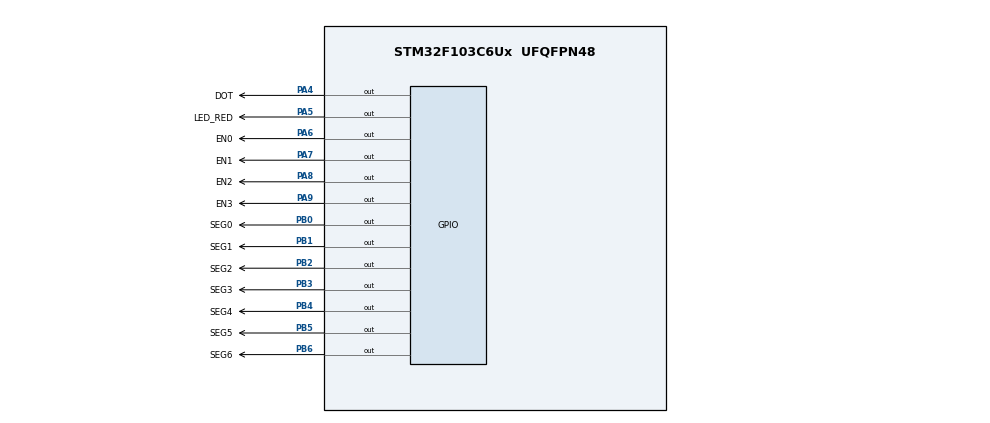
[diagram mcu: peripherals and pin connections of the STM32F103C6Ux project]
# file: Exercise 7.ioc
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Mcu.Family=STM32F1
Mcu.Name=STM32F103C6Ux
Mcu.Package=UFQFPN48
NVIC.PriorityGroup=NVIC_PRIORITYGROUP_4
NVIC.TIM2_IRQn=true\:0\:0\:false\:false\:true\:true\:true
PA4.GPIO_Label=DOT
PA4.Signal=GPIO_Output
PA5.GPIO_Label=LED_RED
PA5.Signal=GPIO_Output
PA6.GPIO_Label=EN0
PA6.Signal=GPIO_Output
PA7.GPIO_Label=EN1
PA7.Signal=GPIO_Output
PA8.GPIO_Label=EN2
PA8.Signal=GPIO_Output
PA9.GPIO_Label=EN3
PA9.Signal=GPIO_Output
PB0.GPIO_Label=SEG0
PB0.Signal=GPIO_Output
PB1.GPIO_Label=SEG1
PB1.Signal=GPIO_Output
PB2.GPIO_Label=SEG2
PB2.Signal=GPIO_Output
PB3.GPIO_Label=SEG3
PB3.Signal=GPIO_Output
PB4.GPIO_Label=SEG4
PB4.Signal=GPIO_Output
PB5.GPIO_Label=SEG5
PB5.Signal=GPIO_Output
PB6.GPIO_Label=SEG6
PB6.Signal=GPIO_Output
ProjectManager.HeapSize=0x200
ProjectManager.StackSize=0x400
ProjectManager.TargetToolchain=STM32CubeIDE
RCC.APB1Freq_Value=8000000
RCC.APB2Freq_Value=8000000
TIM2.Period=9
TIM2.Prescaler=7999
VP_SYS_VS_ND.Mode=No_Debug
VP_TIM2_VS_ClockSourceINT.Mode=Internal
board=custom

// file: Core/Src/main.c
/* USER CODE BEGIN Header */
/**
  ******************************************************************************
  * @file           : main.c
  * @brief          : Main program body
  ******************************************************************************
  * @attention
  *
  * <h2><center>&copy; Copyright (c) 2024 STMicroelectronics.
  * All rights reserved.</center></h2>
  *
  * This software component is licensed by ST under BSD 3-Clause license,
  * the "License"; You may not use this file except in compliance with the
  * License. You may obtain a copy of the License at:
  *                        opensource.org/licenses/BSD-3-Clause
  *
  ******************************************************************************
  */
/* USER CODE END Header */
#include "main.h"
#include "software_timer.h"

TIM_HandleTypeDef htim2;

void SystemClock_Config(void);
static void MX_GPIO_Init(void);
static void MX_TIM2_Init(void);

void display7SEG(int led_buffer)
{
	switch (led_buffer)
	{
		case 0:
			HAL_GPIO_WritePin(SEG0_GPIO_Port, SEG0_Pin, RESET);
			HAL_GPIO_WritePin(SEG1_GPIO_Port, SEG1_Pin, RESET);
			HAL_GPIO_WritePin(SEG2_GPIO_Port, SEG2_Pin, RESET);
			HAL_GPIO_WritePin(SEG3_GPIO_Port, SEG3_Pin, RESET);
			HAL_GPIO_WritePin(SEG4_GPIO_Port, SEG4_Pin, RESET);
			HAL_GPIO_WritePin(SEG5_GPIO_Port, SEG5_Pin, RESET);
			HAL_GPIO_WritePin(SEG6_GPIO_Port, SEG6_Pin, SET);
			break;
		case 1:
			HAL_GPIO_WritePin(SEG0_GPIO_Port, SEG0_Pin, SET);
			HAL_GPIO_WritePin(SEG1_GPIO_Port, SEG1_Pin, RESET);
			HAL_GPIO_WritePin(SEG2_GPIO_Port, SEG2_Pin, RESET);
			HAL_GPIO_WritePin(SEG3_GPIO_Port, SEG3_Pin, SET);
			HAL_GPIO_WritePin(SEG4_GPIO_Port, SEG4_Pin, SET);
			HAL_GPIO_WritePin(SEG5_GPIO_Port, SEG5_Pin, SET);
			HAL_GPIO_WritePin(SEG6_GPIO_Port, SEG6_Pin, SET);
			break;
		case 2:
			HAL_GPIO_WritePin(SEG0_GPIO_Port, SEG0_Pin, RESET);
			HAL_GPIO_WritePin(SEG1_GPIO_Port, SEG1_Pin, RESET);
			HAL_GPIO_WritePin(SEG2_GPIO_Port, SEG2_Pin, SET);
			HAL_GPIO_WritePin(SEG3_GPIO_Port, SEG3_Pin, RESET);
			HAL_GPIO_WritePin(SEG4_GPIO_Port, SEG4_Pin, RESET);
			HAL_GPIO_WritePin(SEG5_GPIO_Port, SEG5_Pin, SET);
			HAL_GPIO_WritePin(SEG6_GPIO_Port, SEG6_Pin, RESET);
			break;
		case 3:
			HAL_GPIO_WritePin(SEG0_GPIO_Port, SEG0_Pin, RESET);
			HAL_GPIO_WritePin(SEG1_GPIO_Port, SEG1_Pin, RESET);
			HAL_GPIO_WritePin(SEG2_GPIO_Port, SEG2_Pin, RESET);
			HAL_GPIO_WritePin(SEG3_GPIO_Port, SEG3_Pin, RESET);
			HAL_GPIO_WritePin(SEG4_GPIO_Port, SEG4_Pin, SET);
			HAL_GPIO_WritePin(SEG5_GPIO_Port, SEG5_Pin, SET);
			HAL_GPIO_WritePin(SEG6_GPIO_Port, SEG6_Pin, RESET);
			break;
		case 4:
			HAL_GPIO_WritePin(SEG0_GPIO_Port, SEG0_Pin, SET);
			HAL_GPIO_WritePin(SEG1_GPIO_Port, SEG1_Pin, RESET);
			HAL_GPIO_WritePin(SEG2_GPIO_Port, SEG2_Pin, RESET);
			HAL_GPIO_WritePin(SEG3_GPIO_Port, SEG3_Pin, SET);
			HAL_GPIO_WritePin(SEG4_GPIO_Port, SEG4_Pin, SET);
			HAL_GPIO_WritePin(SEG5_GPIO_Port, SEG5_Pin, RESET);
			HAL_GPIO_WritePin(SEG6_GPIO_Port, SEG6_Pin, RESET);
			break;
		case 5:
			HAL_GPIO_WritePin(SEG0_GPIO_Port, SEG0_Pin, RESET);
			HAL_GPIO_WritePin(SEG1_GPIO_Port, SEG1_Pin, SET);
			HAL_GPIO_WritePin(SEG2_GPIO_Port, SEG2_Pin, RESET);
			HAL_GPIO_WritePin(SEG3_GPIO_Port, SEG3_Pin, RESET);
			HAL_GPIO_WritePin(SEG4_GPIO_Port, SEG4_Pin, SET);
			HAL_GPIO_WritePin(SEG5_GPIO_Port, SEG5_Pin, RESET);
			HAL_GPIO_WritePin(SEG6_GPIO_Port, SEG6_Pin, RESET);
			break;
		case 6:
			HAL_GPIO_WritePin(SEG0_GPIO_Port, SEG0_Pin, RESET);
			HAL_GPIO_WritePin(SEG1_GPIO_Port, SEG1_Pin, SET);
			HAL_GPIO_WritePin(SEG2_GPIO_Port, SEG2_Pin, RESET);
			HAL_GPIO_WritePin(SEG3_GPIO_Port, SEG3_Pin, RESET);
			HAL_GPIO_WritePin(SEG4_GPIO_Port, SEG4_Pin, RESET);
			HAL_GPIO_WritePin(SEG5_GPIO_Port, SEG5_Pin, RESET);
			HAL_GPIO_WritePin(SEG6_GPIO_Port, SEG6_Pin, RESET);
			break;
		case 7:
			HAL_GPIO_WritePin(SEG0_GPIO_Port, SEG0_Pin, RESET);
			HAL_GPIO_WritePin(SEG1_GPIO_Port, SEG1_Pin, RESET);
			HAL_GPIO_WritePin(SEG2_GPIO_Port, SEG2_Pin, RESET);
			HAL_GPIO_WritePin(SEG3_GPIO_Port, SEG3_Pin, SET);
			HAL_GPIO_WritePin(SEG4_GPIO_Port, SEG4_Pin, SET);
			HAL_GPIO_WritePin(SEG5_GPIO_Port, SEG5_Pin, SET);
			HAL_GPIO_WritePin(SEG6_GPIO_Port, SEG6_Pin, SET);
			break;
		case 8:
			HAL_GPIO_WritePin(SEG0_GPIO_Port, SEG0_Pin, RESET);
			HAL_GPIO_WritePin(SEG1_GPIO_Port, SEG1_Pin, RESET);
			HAL_GPIO_WritePin(SEG2_GPIO_Port, SEG2_Pin, RESET);
			HAL_GPIO_WritePin(SEG3_GPIO_Port, SEG3_Pin, RESET);
			HAL_GPIO_WritePin(SEG4_GPIO_Port, SEG4_Pin, RESET);
			HAL_GPIO_WritePin(SEG5_GPIO_Port, SEG5_Pin, RESET);
			HAL_GPIO_WritePin(SEG6_GPIO_Port, SEG6_Pin, RESET);
			break;
		case 9:
			HAL_GPIO_WritePin(SEG0_GPIO_Port, SEG0_Pin, RESET);
			HAL_GPIO_WritePin(SEG1_GPIO_Port, SEG1_Pin, RESET);
			HAL_GPIO_WritePin(SEG2_GPIO_Port, SEG2_Pin, RESET);
			HAL_GPIO_WritePin(SEG3_GPIO_Port, SEG3_Pin, RESET);
			HAL_GPIO_WritePin(SEG4_GPIO_Port, SEG4_Pin, SET);
			HAL_GPIO_WritePin(SEG5_GPIO_Port, SEG5_Pin, RESET);
			HAL_GPIO_WritePin(SEG6_GPIO_Port, SEG6_Pin, RESET);
			break;
		default:
			break;
	}
}

void update7SEG(int num, int led_buffer[])
{
	switch(num)
	{
	case 0:
		HAL_GPIO_WritePin(EN0_GPIO_Port, EN0_Pin, RESET);
		HAL_GPIO_WritePin(EN1_GPIO_Port, EN1_Pin, SET);
		HAL_GPIO_WritePin(EN2_GPIO_Port, EN2_Pin, SET);
		HAL_GPIO_WritePin(EN3_GPIO_Port, EN3_Pin, SET);
		display7SEG(led_buffer[0]);
		break;
	case 1:
		HAL_GPIO_WritePin(EN0_GPIO_Port, EN0_Pin, SET);
		HAL_GPIO_WritePin(EN1_GPIO_Port, EN1_Pin, RESET);
		HAL_GPIO_WritePin(EN2_GPIO_Port, EN2_Pin, SET);
		HAL_GPIO_WritePin(EN3_GPIO_Port, EN3_Pin, SET);
		display7SEG(led_buffer[1]);
		break;
	case 2:
		HAL_GPIO_WritePin(EN0_GPIO_Port, EN0_Pin, SET);
		HAL_GPIO_WritePin(EN1_GPIO_Port, EN1_Pin, SET);
		HAL_GPIO_WritePin(EN2_GPIO_Port, EN2_Pin, RESET);
		HAL_GPIO_WritePin(EN3_GPIO_Port, EN3_Pin, SET);
		display7SEG(led_buffer[2]);
		break;
	case 3:
		HAL_GPIO_WritePin(EN0_GPIO_Port, EN0_Pin, SET);
		HAL_GPIO_WritePin(EN1_GPIO_Port, EN1_Pin, SET);
		HAL_GPIO_WritePin(EN2_GPIO_Port, EN2_Pin, SET);
		HAL_GPIO_WritePin(EN3_GPIO_Port, EN3_Pin, RESET);
		display7SEG(led_buffer[3]);
		break;
	default:
		break;
	}
}

void updateClockBuffer(int hour, int minute, int led_buffer[])
{
	if( hour >= 0 && hour <= 9)
	{
		led_buffer[0] = 0;
		led_buffer[1] = hour;
	}
	else
	{
		led_buffer[0] = hour / 10;
		led_buffer[1] = hour % 10;
	}

	if(minute >= 0 && minute <= 9)
	{
		led_buffer[2] = 0;
		led_buffer[3] = minute;
	}
	else
	{
		led_buffer[2] = minute / 10;
		led_buffer[3] = minute % 10;
	}
}
int main(void)
{

  /* MCU Configuration--------------------------------------------------------*/

  /* Reset of all peripherals, Initializes the Flash interface and the Systick. */
  HAL_Init();

  /* Configure the system clock */
  SystemClock_Config();

  /* Initialize all configured peripherals */
  MX_GPIO_Init();
  MX_TIM2_Init();
  HAL_TIM_Base_Start_IT(&htim2);

  /* Infinite loop */
  /* USER CODE BEGIN WHILE */
  int hour = 7, minute = 25, second = 20;
  int counter = 0;
  int led_buffer [4] = {0,0,0,0};
  setTimer0 (100);
  setTimer1 (100);
  while (1)
  {
	  if(timer0_flag == 1)
	  {
		  setTimer0(100);
		  HAL_GPIO_TogglePin(LED_RED_GPIO_Port, LED_RED_Pin);
	  }

	 if(timer1_flag == 1)
	 {
		 setTimer1(100);
		 second++;
		 if(second >= 60)
		 {
			 minute++;
			 second = 0;
		 }
		 if(minute >= 60)
		 {
			 hour++;
			 minute = 0;
		 }
		 if(hour >= 24)
		 {
			 hour = 0;
		 }

		 HAL_GPIO_TogglePin(DOT_GPIO_Port, DOT_Pin);
		 updateClockBuffer(hour, minute, led_buffer);
		 update7SEG(counter, led_buffer);

		 counter++;
		 if(counter > 3)
		 {
			 counter = 0;
		 }
	 }
    /* USER CODE END WHILE */

  }
}

void SystemClock_Config(void)
{
  RCC_OscInitTypeDef RCC_OscInitStruct = {0};
  RCC_ClkInitTypeDef RCC_ClkInitStruct = {0};

  /** Initializes the RCC Oscillators according to the specified parameters
  * in the RCC_OscInitTypeDef structure.
  */
  RCC_OscInitStruct.OscillatorType = RCC_OSCILLATORTYPE_HSI;
  RCC_OscInitStruct.HSIState = RCC_HSI_ON;
  RCC_OscInitStruct.HSICalibrationValue = RCC_HSICALIBRATION_DEFAULT;
  RCC_OscInitStruct.PLL.PLLState = RCC_PLL_NONE;
  if (HAL_RCC_OscConfig(&RCC_OscInitStruct) != HAL_OK)
  {
    Error_Handler();
  }
  /** Initializes the CPU, AHB and APB buses clocks
  */
  RCC_ClkInitStruct.ClockType = RCC_CLOCKTYPE_HCLK|RCC_CLOCKTYPE_SYSCLK
                              |RCC_CLOCKTYPE_PCLK1|RCC_CLOCKTYPE_PCLK2;
  RCC_ClkInitStruct.SYSCLKSource = RCC_SYSCLKSOURCE_HSI;
  RCC_ClkInitStruct.AHBCLKDivider = RCC_SYSCLK_DIV1;
  RCC_ClkInitStruct.APB1CLKDivider = RCC_HCLK_DIV1;
  RCC_ClkInitStruct.APB2CLKDivider = RCC_HCLK_DIV1;

  if (HAL_RCC_ClockConfig(&RCC_ClkInitStruct, FLASH_LATENCY_0) != HAL_OK)
  {
    Error_Handler();
  }
}

static void MX_TIM2_Init(void)
{

  TIM_ClockConfigTypeDef sClockSourceConfig = {0};
  TIM_MasterConfigTypeDef sMasterConfig = {0};

  htim2.Instance = TIM2;
  htim2.Init.Prescaler = 7999;
  htim2.Init.CounterMode = TIM_COUNTERMODE_UP;
  htim2.Init.Period = 9;
  htim2.Init.ClockDivision = TIM_CLOCKDIVISION_DIV1;
  htim2.Init.AutoReloadPreload = TIM_AUTORELOAD_PRELOAD_DISABLE;
  if (HAL_TIM_Base_Init(&htim2) != HAL_OK)
  {
    Error_Handler();
  }
  sClockSourceConfig.ClockSource = TIM_CLOCKSOURCE_INTERNAL;
  if (HAL_TIM_ConfigClockSource(&htim2, &sClockSourceConfig) != HAL_OK)
  {
    Error_Handler();
  }
  sMasterConfig.MasterOutputTrigger = TIM_TRGO_RESET;
  sMasterConfig.MasterSlaveMode = TIM_MASTERSLAVEMODE_DISABLE;
  if (HAL_TIMEx_MasterConfigSynchronization(&htim2, &sMasterConfig) != HAL_OK)
  {
    Error_Handler();
  }

}

static void MX_GPIO_Init(void)
{
  GPIO_InitTypeDef GPIO_InitStruct = {0};

  /* GPIO Ports Clock Enable */
  __HAL_RCC_GPIOA_CLK_ENABLE();
  __HAL_RCC_GPIOB_CLK_ENABLE();

  /*Configure GPIO pin Output Level */
  HAL_GPIO_WritePin(GPIOA, DOT_Pin|LED_RED_Pin|EN0_Pin|EN1_Pin
                          |EN2_Pin|EN3_Pin, GPIO_PIN_RESET);

  /*Configure GPIO pin Output Level */
  HAL_GPIO_WritePin(GPIOB, SEG0_Pin|SEG1_Pin|SEG2_Pin|SEG3_Pin
                          |SEG4_Pin|SEG5_Pin|SEG6_Pin, GPIO_PIN_RESET);

  /*Configure GPIO pins : DOT_Pin LED_RED_Pin EN0_Pin EN1_Pin
                           EN2_Pin EN3_Pin */
  GPIO_InitStruct.Pin = DOT_Pin|LED_RED_Pin|EN0_Pin|EN1_Pin
                          |EN2_Pin|EN3_Pin;
  GPIO_InitStruct.Mode = GPIO_MODE_OUTPUT_PP;
  GPIO_InitStruct.Pull = GPIO_NOPULL;
  GPIO_InitStruct.Speed = GPIO_SPEED_FREQ_LOW;
  HAL_GPIO_Init(GPIOA, &GPIO_InitStruct);

  /*Configure GPIO pins : SEG0_Pin SEG1_Pin SEG2_Pin SEG3_Pin
                           SEG4_Pin SEG5_Pin SEG6_Pin */
  GPIO_InitStruct.Pin = SEG0_Pin|SEG1_Pin|SEG2_Pin|SEG3_Pin
                          |SEG4_Pin|SEG5_Pin|SEG6_Pin;
  GPIO_InitStruct.Mode = GPIO_MODE_OUTPUT_PP;
  GPIO_InitStruct.Pull = GPIO_NOPULL;
  GPIO_InitStruct.Speed = GPIO_SPEED_FREQ_LOW;
  HAL_GPIO_Init(GPIOB, &GPIO_InitStruct);

}

/* USER CODE BEGIN 4 */
void HAL_TIM_PeriodElapsedCallback (TIM_HandleTypeDef *him)
{
	timerRun0();
	timerRun1();

}
/* USER CODE END 4 */

void Error_Handler(void)
{
  __disable_irq();
  while (1)
  {
  }
}

/************************ (C) COPYRIGHT STMicroelectronics *****END OF FILE****/
